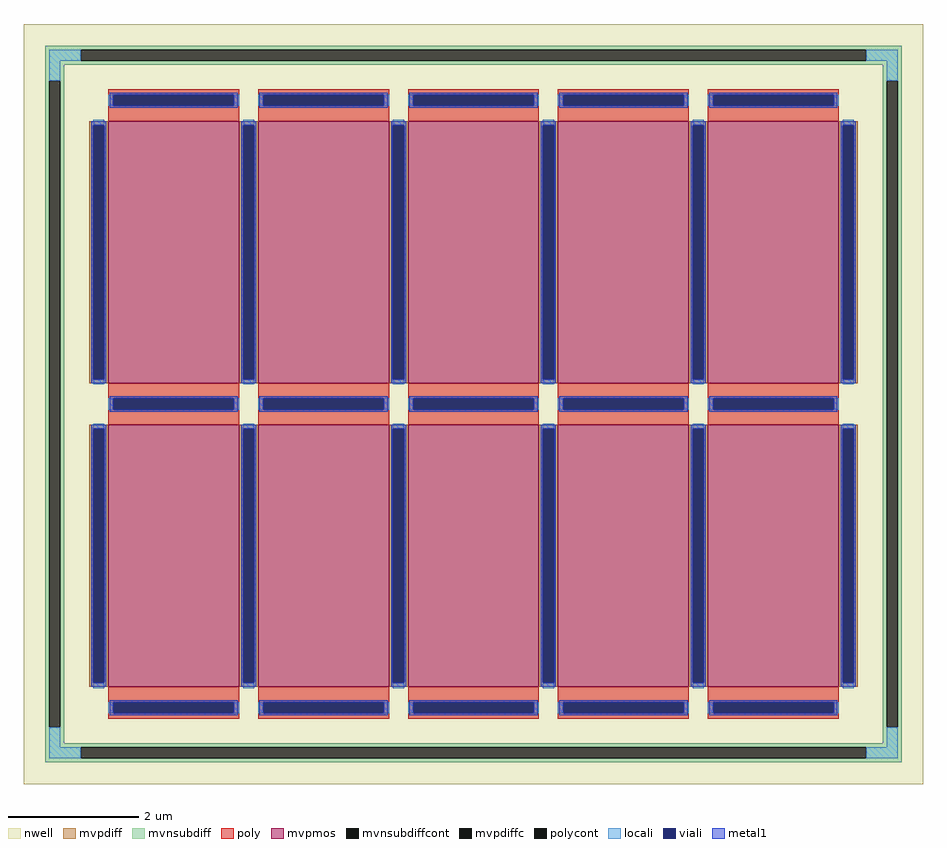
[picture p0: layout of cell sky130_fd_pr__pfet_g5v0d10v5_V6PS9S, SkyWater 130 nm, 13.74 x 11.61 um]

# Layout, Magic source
magic
tech sky130A
magscale 1 2
<< nwell >>
rect -1374 -1161 1374 1161
<< mvpmos >>
rect -1116 64 -716 864
rect -658 64 -258 864
rect -200 64 200 864
rect 258 64 658 864
rect 716 64 1116 864
rect -1116 -864 -716 -64
rect -658 -864 -258 -64
rect -200 -864 200 -64
rect 258 -864 658 -64
rect 716 -864 1116 -64
<< mvpdiff >>
rect -1174 852 -1116 864
rect -1174 76 -1162 852
rect -1128 76 -1116 852
rect -1174 64 -1116 76
rect -716 852 -658 864
rect -716 76 -704 852
rect -670 76 -658 852
rect -716 64 -658 76
rect -258 852 -200 864
rect -258 76 -246 852
rect -212 76 -200 852
rect -258 64 -200 76
rect 200 852 258 864
rect 200 76 212 852
rect 246 76 258 852
rect 200 64 258 76
rect 658 852 716 864
rect 658 76 670 852
rect 704 76 716 852
rect 658 64 716 76
rect 1116 852 1174 864
rect 1116 76 1128 852
rect 1162 76 1174 852
rect 1116 64 1174 76
rect -1174 -76 -1116 -64
rect -1174 -852 -1162 -76
rect -1128 -852 -1116 -76
rect -1174 -864 -1116 -852
rect -716 -76 -658 -64
rect -716 -852 -704 -76
rect -670 -852 -658 -76
rect -716 -864 -658 -852
rect -258 -76 -200 -64
rect -258 -852 -246 -76
rect -212 -852 -200 -76
rect -258 -864 -200 -852
rect 200 -76 258 -64
rect 200 -852 212 -76
rect 246 -852 258 -76
rect 200 -864 258 -852
rect 658 -76 716 -64
rect 658 -852 670 -76
rect 704 -852 716 -76
rect 658 -864 716 -852
rect 1116 -76 1174 -64
rect 1116 -852 1128 -76
rect 1162 -852 1174 -76
rect 1116 -864 1174 -852
<< mvpdiffc >>
rect -1162 76 -1128 852
rect -704 76 -670 852
rect -246 76 -212 852
rect 212 76 246 852
rect 670 76 704 852
rect 1128 76 1162 852
rect -1162 -852 -1128 -76
rect -704 -852 -670 -76
rect -246 -852 -212 -76
rect 212 -852 246 -76
rect 670 -852 704 -76
rect 1128 -852 1162 -76
<< mvnsubdiff >>
rect -1308 1083 1308 1095
rect -1308 1049 -1200 1083
rect 1200 1049 1308 1083
rect -1308 1037 1308 1049
rect -1308 987 -1250 1037
rect -1308 -987 -1296 987
rect -1262 -987 -1250 987
rect 1250 987 1308 1037
rect -1308 -1037 -1250 -987
rect 1250 -987 1262 987
rect 1296 -987 1308 987
rect 1250 -1037 1308 -987
rect -1308 -1049 1308 -1037
rect -1308 -1083 -1200 -1049
rect 1200 -1083 1308 -1049
rect -1308 -1095 1308 -1083
<< mvnsubdiffcont >>
rect -1200 1049 1200 1083
rect -1296 -987 -1262 987
rect 1262 -987 1296 987
rect -1200 -1083 1200 -1049
<< poly >>
rect -1116 945 -716 961
rect -1116 911 -1100 945
rect -732 911 -716 945
rect -1116 864 -716 911
rect -658 945 -258 961
rect -658 911 -642 945
rect -274 911 -258 945
rect -658 864 -258 911
rect -200 945 200 961
rect -200 911 -184 945
rect 184 911 200 945
rect -200 864 200 911
rect 258 945 658 961
rect 258 911 274 945
rect 642 911 658 945
rect 258 864 658 911
rect 716 945 1116 961
rect 716 911 732 945
rect 1100 911 1116 945
rect 716 864 1116 911
rect -1116 17 -716 64
rect -1116 -17 -1100 17
rect -732 -17 -716 17
rect -1116 -64 -716 -17
rect -658 17 -258 64
rect -658 -17 -642 17
rect -274 -17 -258 17
rect -658 -64 -258 -17
rect -200 17 200 64
rect -200 -17 -184 17
rect 184 -17 200 17
rect -200 -64 200 -17
rect 258 17 658 64
rect 258 -17 274 17
rect 642 -17 658 17
rect 258 -64 658 -17
rect 716 17 1116 64
rect 716 -17 732 17
rect 1100 -17 1116 17
rect 716 -64 1116 -17
rect -1116 -911 -716 -864
rect -1116 -945 -1100 -911
rect -732 -945 -716 -911
rect -1116 -961 -716 -945
rect -658 -911 -258 -864
rect -658 -945 -642 -911
rect -274 -945 -258 -911
rect -658 -961 -258 -945
rect -200 -911 200 -864
rect -200 -945 -184 -911
rect 184 -945 200 -911
rect -200 -961 200 -945
rect 258 -911 658 -864
rect 258 -945 274 -911
rect 642 -945 658 -911
rect 258 -961 658 -945
rect 716 -911 1116 -864
rect 716 -945 732 -911
rect 1100 -945 1116 -911
rect 716 -961 1116 -945
<< polycont >>
rect -1100 911 -732 945
rect -642 911 -274 945
rect -184 911 184 945
rect 274 911 642 945
rect 732 911 1100 945
rect -1100 -17 -732 17
rect -642 -17 -274 17
rect -184 -17 184 17
rect 274 -17 642 17
rect 732 -17 1100 17
rect -1100 -945 -732 -911
rect -642 -945 -274 -911
rect -184 -945 184 -911
rect 274 -945 642 -911
rect 732 -945 1100 -911
<< locali >>
rect -1296 1049 -1200 1083
rect 1200 1049 1296 1083
rect -1296 987 -1262 1049
rect 1262 987 1296 1049
rect -1116 911 -1100 945
rect -732 911 -716 945
rect -658 911 -642 945
rect -274 911 -258 945
rect -200 911 -184 945
rect 184 911 200 945
rect 258 911 274 945
rect 642 911 658 945
rect 716 911 732 945
rect 1100 911 1116 945
rect -1162 852 -1128 868
rect -1162 60 -1128 76
rect -704 852 -670 868
rect -704 60 -670 76
rect -246 852 -212 868
rect -246 60 -212 76
rect 212 852 246 868
rect 212 60 246 76
rect 670 852 704 868
rect 670 60 704 76
rect 1128 852 1162 868
rect 1128 60 1162 76
rect -1116 -17 -1100 17
rect -732 -17 -716 17
rect -658 -17 -642 17
rect -274 -17 -258 17
rect -200 -17 -184 17
rect 184 -17 200 17
rect 258 -17 274 17
rect 642 -17 658 17
rect 716 -17 732 17
rect 1100 -17 1116 17
rect -1162 -76 -1128 -60
rect -1162 -868 -1128 -852
rect -704 -76 -670 -60
rect -704 -868 -670 -852
rect -246 -76 -212 -60
rect -246 -868 -212 -852
rect 212 -76 246 -60
rect 212 -868 246 -852
rect 670 -76 704 -60
rect 670 -868 704 -852
rect 1128 -76 1162 -60
rect 1128 -868 1162 -852
rect -1116 -945 -1100 -911
rect -732 -945 -716 -911
rect -658 -945 -642 -911
rect -274 -945 -258 -911
rect -200 -945 -184 -911
rect 184 -945 200 -911
rect 258 -945 274 -911
rect 642 -945 658 -911
rect 716 -945 732 -911
rect 1100 -945 1116 -911
rect -1296 -1049 -1262 -987
rect 1262 -1049 1296 -987
rect -1296 -1083 -1200 -1049
rect 1200 -1083 1296 -1049
<< viali >>
rect -1100 911 -732 945
rect -642 911 -274 945
rect -184 911 184 945
rect 274 911 642 945
rect 732 911 1100 945
rect -1162 76 -1128 852
rect -704 76 -670 852
rect -246 76 -212 852
rect 212 76 246 852
rect 670 76 704 852
rect 1128 76 1162 852
rect -1100 -17 -732 17
rect -642 -17 -274 17
rect -184 -17 184 17
rect 274 -17 642 17
rect 732 -17 1100 17
rect -1162 -852 -1128 -76
rect -704 -852 -670 -76
rect -246 -852 -212 -76
rect 212 -852 246 -76
rect 670 -852 704 -76
rect 1128 -852 1162 -76
rect -1100 -945 -732 -911
rect -642 -945 -274 -911
rect -184 -945 184 -911
rect 274 -945 642 -911
rect 732 -945 1100 -911
<< metal1 >>
rect -1112 945 -720 951
rect -1112 911 -1100 945
rect -732 911 -720 945
rect -1112 905 -720 911
rect -654 945 -262 951
rect -654 911 -642 945
rect -274 911 -262 945
rect -654 905 -262 911
rect -196 945 196 951
rect -196 911 -184 945
rect 184 911 196 945
rect -196 905 196 911
rect 262 945 654 951
rect 262 911 274 945
rect 642 911 654 945
rect 262 905 654 911
rect 720 945 1112 951
rect 720 911 732 945
rect 1100 911 1112 945
rect 720 905 1112 911
rect -1168 852 -1122 864
rect -1168 76 -1162 852
rect -1128 76 -1122 852
rect -1168 64 -1122 76
rect -710 852 -664 864
rect -710 76 -704 852
rect -670 76 -664 852
rect -710 64 -664 76
rect -252 852 -206 864
rect -252 76 -246 852
rect -212 76 -206 852
rect -252 64 -206 76
rect 206 852 252 864
rect 206 76 212 852
rect 246 76 252 852
rect 206 64 252 76
rect 664 852 710 864
rect 664 76 670 852
rect 704 76 710 852
rect 664 64 710 76
rect 1122 852 1168 864
rect 1122 76 1128 852
rect 1162 76 1168 852
rect 1122 64 1168 76
rect -1112 17 -720 23
rect -1112 -17 -1100 17
rect -732 -17 -720 17
rect -1112 -23 -720 -17
rect -654 17 -262 23
rect -654 -17 -642 17
rect -274 -17 -262 17
rect -654 -23 -262 -17
rect -196 17 196 23
rect -196 -17 -184 17
rect 184 -17 196 17
rect -196 -23 196 -17
rect 262 17 654 23
rect 262 -17 274 17
rect 642 -17 654 17
rect 262 -23 654 -17
rect 720 17 1112 23
rect 720 -17 732 17
rect 1100 -17 1112 17
rect 720 -23 1112 -17
rect -1168 -76 -1122 -64
rect -1168 -852 -1162 -76
rect -1128 -852 -1122 -76
rect -1168 -864 -1122 -852
rect -710 -76 -664 -64
rect -710 -852 -704 -76
rect -670 -852 -664 -76
rect -710 -864 -664 -852
rect -252 -76 -206 -64
rect -252 -852 -246 -76
rect -212 -852 -206 -76
rect -252 -864 -206 -852
rect 206 -76 252 -64
rect 206 -852 212 -76
rect 246 -852 252 -76
rect 206 -864 252 -852
rect 664 -76 710 -64
rect 664 -852 670 -76
rect 704 -852 710 -76
rect 664 -864 710 -852
rect 1122 -76 1168 -64
rect 1122 -852 1128 -76
rect 1162 -852 1168 -76
rect 1122 -864 1168 -852
rect -1112 -911 -720 -905
rect -1112 -945 -1100 -911
rect -732 -945 -720 -911
rect -1112 -951 -720 -945
rect -654 -911 -262 -905
rect -654 -945 -642 -911
rect -274 -945 -262 -911
rect -654 -951 -262 -945
rect -196 -911 196 -905
rect -196 -945 -184 -911
rect 184 -945 196 -911
rect -196 -951 196 -945
rect 262 -911 654 -905
rect 262 -945 274 -911
rect 642 -945 654 -911
rect 262 -951 654 -945
rect 720 -911 1112 -905
rect 720 -945 732 -911
rect 1100 -945 1112 -911
rect 720 -951 1112 -945
<< properties >>
string FIXED_BBOX -1279 -1066 1279 1066
string gencell sky130_fd_pr__pfet_g5v0d10v5
string library sky130
string parameters w 4.0 l 2.0 m 2 nf 5 diffcov 100 polycov 100 guard 1 glc 1 grc 1 gtc 1 gbc 1 tbcov 100 rlcov 100 topc 1 botc 1 poverlap 1 doverlap 1 lmin 0.50 wmin 0.42 compatible {sky130_fd_pr__pfet_01v8  sky130_fd_pr__pfet_01v8_lvt sky130_fd_pr__pfet_01v8_hvt  sky130_fd_pr__pfet_g5v0d10v5} full_metal 1 viasrc 100 viadrn 100 viagate 100 viagb 0 viagr 0 viagl 0 viagt 0
<< end >>
